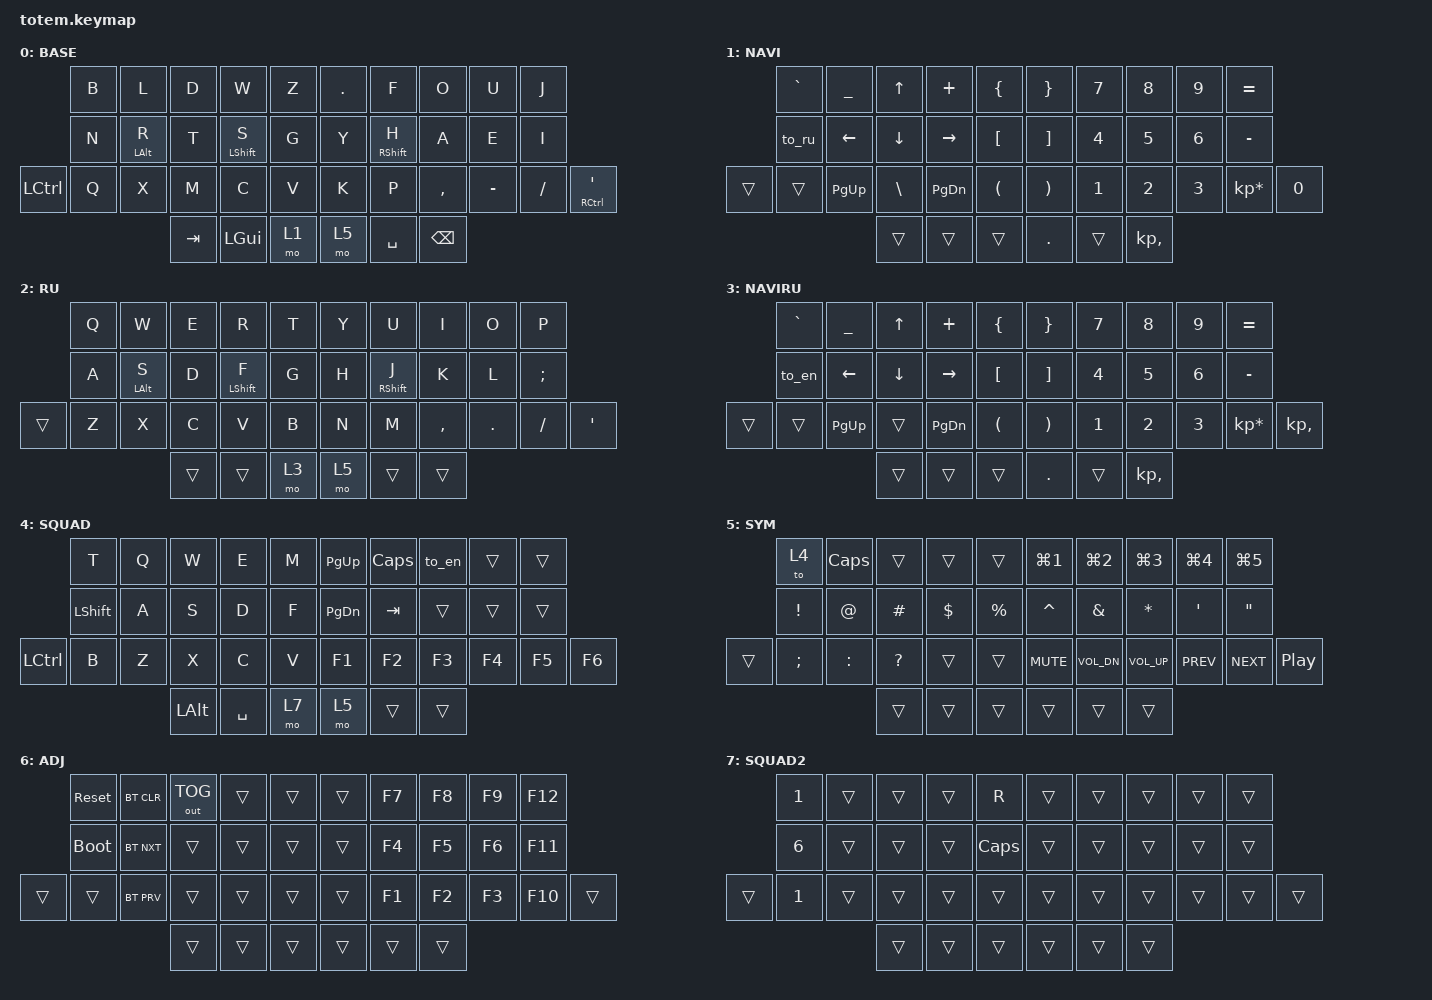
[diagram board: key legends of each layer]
#include <behaviors.dtsi>
#include <dt-bindings/zmk/bt.h>
#include <dt-bindings/zmk/keys.h>
#include <dt-bindings/zmk/outputs.h>

#define BASE   0
#define NAVI   1
#define RU     2
#define NAVIRU 3
#define SQUAD  4
#define SYM    5
#define ADJ    6
#define SQUAD2 7

&mt {
    quick-tap-ms = <150>;
    global-quick-tap;
    flavor = "tap-preferred";
    tapping-term-ms = <170>;
};

/ {
    combos {
        compatible = "zmk,combos";

        combo_esc {
            timeout-ms = <60>;
            key-positions = <0 1>;
            bindings = <&kp ESCAPE>;
            require-prior-idle-ms = <120>;
        };

        dash {
            bindings = <&kp MINUS>;
            key-positions = <19 31>;
            timeout-ms = <70>;
        };

        tilde_combo {
            bindings = <&kp TILDE>;
            key-positions = <0 20>;
            timeout-ms = <60>;
            require-prior-idle-ms = <100>;
            layers = <2 0>;
        };

        enter_combo {
            bindings = <&kp ENTER>;
            key-positions = <13 12 11>;
            timeout-ms = <70>;
            require-prior-idle-ms = <100>;
        };

        enter_right_combo {
            bindings = <&kp ENTER>;
            key-positions = <16 18 17>;
            timeout-ms = <70>;
            require-prior-idle-ms = <100>;
        };

        russian_letter_ {
            bindings = <&kp RIGHT_BRACKET>;
            key-positions = <8 9>;
            timeout-ms = <20>;
            require-prior-idle-ms = <100>;
            layers = <2>;
        };

        russian_letter_x {
            bindings = <&kp LEFT_BRACKET>;
            key-positions = <8 7>;
            require-prior-idle-ms = <100>;
            timeout-ms = <20>;
            layers = <2>;
        };
    };

    behaviors {
        mt_left: mt_left {
            compatible = "zmk,behavior-hold-tap";
            label = "MT_LEFT";
            bindings = <&kp>, <&kp>;

            #binding-cells = <2>;
            tapping-term-ms = <400>;
            quick-tap-ms = <170>;
            flavor = "balanced";
            hold-trigger-key-positions = <26 27 16 15 5 6 7 5 6 7 8 9 15 16 17 18 19 26 27 28 29 31 5 6 7 8 9 15 16 17 18 19 26 27 28 29 30 31 35 36 37 32 33 34>;
            require-prior-idle-ms = <50>;
            hold-trigger-on-release;
        };

        mt_right: mt_right {
            compatible = "zmk,behavior-hold-tap";
            label = "MT_RIGHT";
            bindings = <&kp>, <&kp>;

            #binding-cells = <2>;
            tapping-term-ms = <400>;
            quick-tap-ms = <170>;
            flavor = "balanced";
            require-prior-idle-ms = <50>;
            hold-trigger-on-release;
            hold-trigger-key-positions = <0 1 4 10 11 12 13 14 20 21 22 23 24 25 2 35 36 37 3 32 33 34>;
        };

        mt_thumb: mt_thumb {
            compatible = "zmk,behavior-hold-tap";
            label = "MT_THUMB";
            bindings = <&kp>, <&kp>;

            #binding-cells = <2>;
            quick-tap-ms = <220>;
            flavor = "balanced";
            tapping-term-ms = <100>;
            require-prior-idle-ms = <0>;
        };

        mt_shift_left: mt_shift_left {
            compatible = "zmk,behavior-hold-tap";
            label = "MT_SHIFT_LEFT";
            bindings = <&kp>, <&kp>;

            #binding-cells = <2>;
            tapping-term-ms = <175>;
            quick-tap-ms = <175>;
            flavor = "tap-preferred";
            hold-trigger-key-positions = <19 26 27 29 30 31 36 37 35 36 32 33 34 5 6 7 8 9 15 16 17 18 19 26 27 28 29 31>;
            require-prior-idle-ms = <20>;
        };

        mt_shift_right: mt_shift_right {
            compatible = "zmk,behavior-hold-tap";
            label = "MT_SHIFT_RIGHT";
            bindings = <&kp>, <&kp>;

            #binding-cells = <2>;
            tapping-term-ms = <175>;
            quick-tap-ms = <175>;
            flavor = "tap-preferred";
            hold-trigger-key-positions = <0 1 2 3 4 10 11 12 13 14 20 21 22 23 24 25 32 33 34 35 36 37>;
            require-prior-idle-ms = <20>;
        };

        hold_sticky: hold_sticky {
            compatible = "zmk,behavior-hold-tap";
            label = "HOLD_STICKY";
            bindings = <&kp>, <&sk>;

            #binding-cells = <2>;
            flavor = "hold-preferred";
            tapping-term-ms = <150>;
            quick-tap-ms = <220>;
        };

        mt_all: mt_all {
            compatible = "zmk,behavior-hold-tap";
            label = "MT_ALL";
            bindings = <&kp>, <&kp>;

            #binding-cells = <2>;
            tapping-term-ms = <175>;
            quick-tap-ms = <175>;
            flavor = "balanced";
            require-prior-idle-ms = <35>;
            hold-trigger-on-release;
        };

        mt_en: mt_en {
            compatible = "zmk,behavior-hold-tap";
            label = "MT_EN";
            bindings = <&kp>, <&to_en>;

            #binding-cells = <2>;
            tapping-term-ms = <175>;
            quick-tap-ms = <175>;
            require-prior-idle-ms = <20>;
        };

        mt_ru: mt_ru {
            compatible = "zmk,behavior-hold-tap";
            label = "MT_RU";
            bindings = <&kp>, <&to_ru>;

            #binding-cells = <2>;
            tapping-term-ms = <175>;
            quick-tap-ms = <175>;
            require-prior-idle-ms = <20>;
        };
    };

    macros {
        to_ru: to_ru {
            compatible = "zmk,behavior-macro";
            #binding-cells = <0>;
            bindings = <&macro_tap>, <&kp LS(LG(R)) &to 2>;

            label = "TO_RU";
        };

        to_en: to_en {
            compatible = "zmk,behavior-macro";
            #binding-cells = <0>;
            bindings = <&macro_tap>, <&kp LS(LG(U)) &to 0>;

            label = "TO_EN";
        };
    };

    keymap {
        compatible = "zmk,keymap";

        base_layer {
            label = "BASE";
            bindings = <
                  &kp B  &kp L                  &kp D    &kp W                    &kp Z    &kp PERIOD  &kp F                          &kp O          &kp U      &kp J
                  &kp N  &mt_shift_left LALT R  &kp T    &mt_shift_left LSHIFT S  &kp G    &kp Y       &mt_shift_right RIGHT_SHIFT H  &kp A          &kp E      &kp I
&kp LEFT_CONTROL  &kp Q  &kp X                  &kp M    &kp C                    &kp V    &kp K       &kp P                          &kp COMMA      &kp MINUS  &kp FSLH  &mt_all RCTRL SQT
                                                &kp TAB  &kp LGUI                 &mo 1    &mo 5       &kp SPACE                      &kp BACKSPACE
            >;
        };

        nav_layer {
            label = "NAVI";
            bindings = <
        &kp GRAVE  &kp UNDER       &kp UP          &kp PLUS         &kp LBRC    &kp RBRC    &kp N7        &kp N8        &kp N9        &kp EQUAL
        &to_ru     &kp LEFT_ARROW  &kp DOWN_ARROW  &kp RIGHT_ARROW  &kp LBKT    &kp RBKT    &kp NUMBER_4  &kp N5        &kp NUMBER_6  &kp MINUS
&trans  &trans     &kp PG_UP       &kp BACKSLASH   &kp PG_DN        &kp LPAR    &kp RPAR    &kp NUMBER_1  &kp N2        &kp N3        &kp KP_MULTIPLY  &kp NUMBER_0
                                   &trans          &trans           &trans      &kp PERIOD  &trans        &kp KP_COMMA
            >;
        };

        ru {
            label = "RU";
            bindings = <
        &kp Q  &kp W                      &kp E   &kp R                        &kp T    &kp Y  &kp U                          &kp I      &kp O    &kp P
        &kp A  &mt_shift_left LEFT_ALT S  &kp D   &mt_shift_left LEFT_SHIFT F  &kp G    &kp H  &mt_shift_right RIGHT_SHIFT J  &kp K      &kp L    &kp SEMI
&trans  &kp Z  &kp X                      &kp C   &kp V                        &kp B    &kp N  &kp M                          &kp COMMA  &kp DOT  &kp FSLH  &kp SQT
                                          &trans  &trans                       &mo 3    &mo 5  &trans                         &trans
            >;
        };

        nav_ru {
            label = "NAVIRU";
            bindings = <
        &kp GRAVE  &kp UNDER       &kp UP          &kp PLUS         &kp LBRC    &kp RBRC    &kp N7        &kp N8        &kp N9        &kp EQUAL
        &to_en     &kp LEFT_ARROW  &kp DOWN_ARROW  &kp RIGHT_ARROW  &kp LBKT    &kp RBKT    &kp NUMBER_4  &kp N5        &kp NUMBER_6  &kp MINUS
&trans  &trans     &kp PG_UP       &trans          &kp PG_DN        &kp LPAR    &kp RPAR    &kp NUMBER_1  &kp N2        &kp N3        &kp KP_MULTIPLY  &kp KP_COMMA
                                   &trans          &trans           &trans      &kp PERIOD  &trans        &kp KP_COMMA
            >;
        };

        squad {
            label = "SQUAD";
            bindings = <
           &kp T           &kp Q  &kp W     &kp E      &kp M    &kp PG_UP  &kp CAPS  &to_en  &trans  &trans
           &kp LEFT_SHIFT  &kp A  &kp S     &kp D      &kp F    &kp PG_DN  &kp TAB   &trans  &trans  &trans
&kp LCTRL  &kp B           &kp Z  &kp X     &kp C      &kp V    &kp F1     &kp F2    &kp F3  &kp F4  &kp F5  &kp F6
                                  &kp LALT  &kp SPACE  &mo 7    &mo 5      &trans    &trans
            >;
        };

        sim_layer {
            label = "SYM";
            bindings = <
        &to 4            &kp CAPSLOCK  &trans        &trans      &trans         &kp LG(N1)  &kp LG(N2)     &kp LG(N3)       &kp LG(N4)        &kp LG(N5)
        &kp EXCLAMATION  &kp AT_SIGN   &kp HASH      &kp DOLLAR  &kp PERCENT    &kp CARET   &kp AMPERSAND  &kp ASTERISK     &kp SINGLE_QUOTE  &kp DOUBLE_QUOTES
&trans  &kp SEMICOLON    &kp COLON     &kp QUESTION  &trans      &trans         &kp K_MUTE  &kp C_VOL_DN   &kp C_VOLUME_UP  &kp C_PREV        &kp C_NEXT         &kp C_PLAY_PAUSE
                                       &trans        &trans      &trans         &trans      &trans         &trans
            >;
        };

        adjust_layer {
            // ┏━━━━━━━━━━━━━━━━━━━━━━━━━━━━━━━━━━━━━━━┓

            label = "ADJ";

            // ┗━━━━━━━━━━━━━━━━━━━━━━━━━━━━━━━━━━━━━━━┛
            //             ┏━━━━━━━━━━━┳━━━━━━━━━━━┳━━━━━━━━━━━┳━━━━━━━━━━━┳━━━━━━━━━━━┓   ┏━━━━━━━━━━━┳━━━━━━━━━━━┳━━━━━━━━━━━┳━━━━━━━━━━━┳━━━━━━━━━━━┓
            //             ┃   RESET   ┃ BT CLEAR  ┃  OUT TOG  ┃           ┃           ┃   ┃           ┃    F7     ┃    F8     ┃    F9     ┃    F12    ┃
            //             ┣━━━━━━━━━━━╋━━━━━━━━━━━╋━━━━━━━━━━━╋━━━━━━━━━━━╋━━━━━━━━━━━┫   ┣━━━━━━━━━━━╋━━━━━━━━━━━╋━━━━━━━━━━━╋━━━━━━━━━━━╋━━━━━━━━━━━┫
            //             ┃ BOOTLOAD  ┃ BT NEXT   ┃           ┃           ┃           ┃   ┃           ┃    F4     ┃    F5     ┃    F6     ┃    F11    ┃
            // ┏━━━━━━━━━━━╋━━━━━━━━━━━╋━━━━━━━━━━━╋━━━━━━━━━━━╋━━━━━━━━━━━╋━━━━━━━━━━━┫   ┣━━━━━━━━━━━╋━━━━━━━━━━━╋━━━━━━━━━━━╋━━━━━━━━━━━╋━━━━━━━━━━━╋━━━━━━━━━━━┓
            // ┃           ┃           ┃ BT PREV   ┃           ┃           ┃           ┃   ┃           ┃    F1     ┃    F2     ┃    F3     ┃    F10    ┃           ┃
            // ┗━━━━━━━━━━━┻━━━━━━━━━━━┻━━━━━━━━━━━╋━━━━━━━━━━━╋━━━━━━━━━━━╋━━━━━━━━━━━┫   ┣━━━━━━━━━━━╋━━━━━━━━━━━╋━━━━━━━━━━━╋━━━━━━━━━━━┻━━━━━━━━━━━┻━━━━━━━━━━━┛
            //                                     ┃           ┃           ┃           ┃   ┃           ┃           ┃           ┃
            //                                     ┗━━━━━━━━━━━┻━━━━━━━━━━━┻━━━━━━━━━━━┛   ┗━━━━━━━━━━━┻━━━━━━━━━━━┻━━━━━━━━━━━┛

            bindings = <
        &sys_reset   &bt BT_CLR  &out OUT_TOG  &trans  &trans    &trans  &kp F7  &kp F8  &kp F9  &kp F12
        &bootloader  &bt BT_NXT  &trans        &trans  &trans    &trans  &kp F4  &kp F5  &kp F6  &kp F11
&trans  &trans       &bt BT_PRV  &trans        &trans  &trans    &trans  &kp F1  &kp F2  &kp F3  &kp F10  &trans
                                 &trans        &trans  &trans    &trans  &trans  &trans
            >;
        };

        squad2 {
            label = "SQUAD2";
            bindings = <
        &kp N1        &trans  &trans  &trans  &kp R       &trans  &trans  &trans  &trans  &trans
        &kp NUMBER_6  &trans  &trans  &trans  &kp CAPS    &trans  &trans  &trans  &trans  &trans
&trans  &kp N1        &trans  &trans  &trans  &trans      &trans  &trans  &trans  &trans  &trans  &trans
                              &trans  &trans  &trans      &trans  &trans  &trans
            >;
        };
    };

    conditional_layers {
        compatible = "zmk,conditional-layers";

        cond3 {
            if-layers = <5 1>;
            then-layer = <6>;
        };

        cond3_ru {
            if-layers = <5 3>;
            then-layer = <6>;
        };
    };
};
